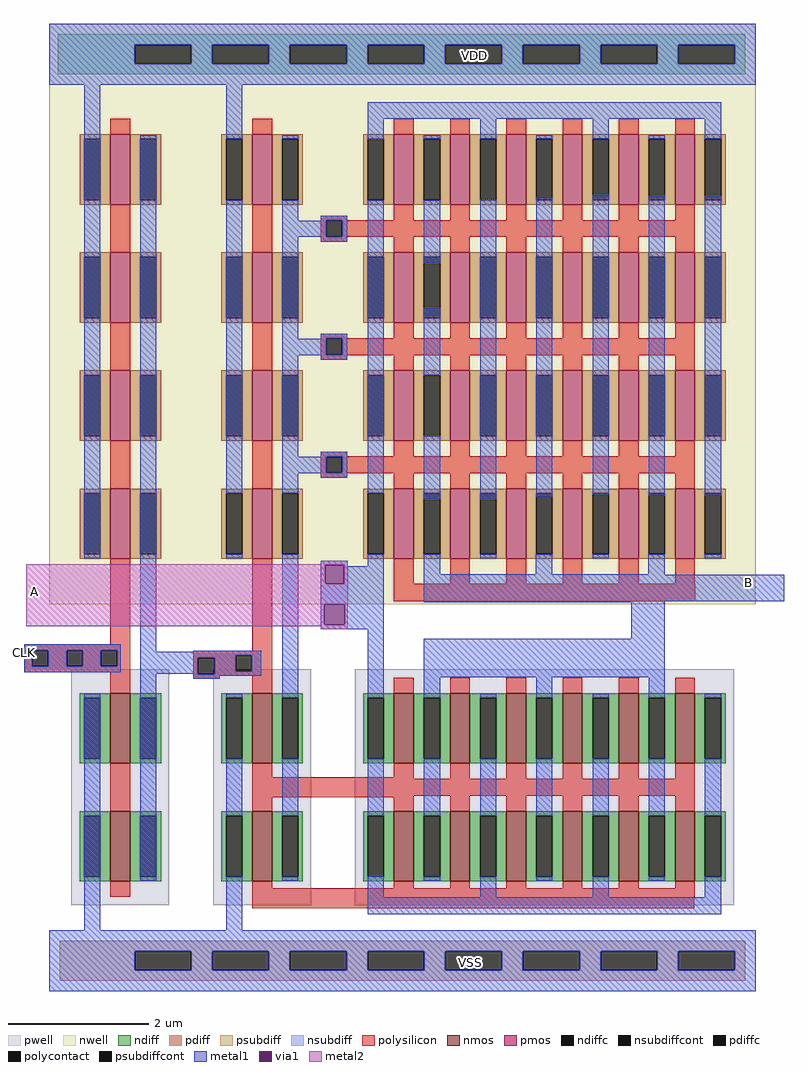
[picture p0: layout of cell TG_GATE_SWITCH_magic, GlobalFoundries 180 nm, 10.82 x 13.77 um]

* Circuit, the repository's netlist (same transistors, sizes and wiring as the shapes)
* NGSPICE file created from TG_GATE_SWITCH_magic.ext - technology: gf180mcuC

.subckt pmos_3p3_MNHNAR a_28_404# a_n28_n312# a_n28_360# a_28_68# a_28_n268# w_n202_n734#
+ a_n116_n268# a_28_n604# a_n28_n648# a_n28_24# a_n116_n604# a_n116_68# a_n116_404#
X0 a_28_n268# a_n28_n312# a_n116_n268# w_n202_n734# pfet_03v3 ad=0.44p pd=2.88u as=0.44p ps=2.88u w=1u l=0.28u
X1 a_28_n604# a_n28_n648# a_n116_n604# w_n202_n734# pfet_03v3 ad=0.44p pd=2.88u as=0.44p ps=2.88u w=1u l=0.28u
X2 a_28_68# a_n28_24# a_n116_68# w_n202_n734# pfet_03v3 ad=0.44p pd=2.88u as=0.44p ps=2.88u w=1u l=0.28u
X3 a_28_404# a_n28_360# a_n116_404# w_n202_n734# pfet_03v3 ad=0.44p pd=2.88u as=0.44p ps=2.88u w=1u l=0.28u
.ends

.subckt nmos_3p3_K66RT2 a_n28_n312# a_28_68# a_28_n268# a_n116_n268# a_n28_24# a_n116_68#
+ VSUBS
X0 a_28_68# a_n28_24# a_n116_68# VSUBS nfet_03v3 ad=0.44p pd=2.88u as=0.44p ps=2.88u w=1u l=0.28u
X1 a_28_n268# a_n28_n312# a_n116_n268# VSUBS nfet_03v3 ad=0.44p pd=2.88u as=0.44p ps=2.88u w=1u l=0.28u
.ends

.subckt nmos_3p3_CU6RT2 a_108_n268# a_n428_n312# a_428_68# a_268_n268# a_268_68# a_n52_68#
+ a_52_24# a_108_68# a_428_n268# a_372_24# a_52_n312# a_n52_n268# a_n372_68# a_212_24#
+ a_n428_24# a_n516_n268# a_n108_n312# a_212_n312# a_n212_68# a_n212_n268# a_n268_24#
+ a_n268_n312# a_372_n312# a_n108_24# a_n372_n268# a_n516_68# VSUBS
X0 a_268_68# a_212_24# a_108_68# VSUBS nfet_03v3 ad=0.26p pd=1.52u as=0.26p ps=1.52u w=1u l=0.28u
X1 a_n372_68# a_n428_24# a_n516_68# VSUBS nfet_03v3 ad=0.26p pd=1.52u as=0.44p ps=2.88u w=1u l=0.28u
X2 a_n372_n268# a_n428_n312# a_n516_n268# VSUBS nfet_03v3 ad=0.26p pd=1.52u as=0.44p ps=2.88u w=1u l=0.28u
X3 a_n212_68# a_n268_24# a_n372_68# VSUBS nfet_03v3 ad=0.26p pd=1.52u as=0.26p ps=1.52u w=1u l=0.28u
X4 a_108_n268# a_52_n312# a_n52_n268# VSUBS nfet_03v3 ad=0.26p pd=1.52u as=0.26p ps=1.52u w=1u l=0.28u
X5 a_428_n268# a_372_n312# a_268_n268# VSUBS nfet_03v3 ad=0.44p pd=2.88u as=0.26p ps=1.52u w=1u l=0.28u
X6 a_268_n268# a_212_n312# a_108_n268# VSUBS nfet_03v3 ad=0.26p pd=1.52u as=0.26p ps=1.52u w=1u l=0.28u
X7 a_n52_68# a_n108_24# a_n212_68# VSUBS nfet_03v3 ad=0.26p pd=1.52u as=0.26p ps=1.52u w=1u l=0.28u
X8 a_n212_n268# a_n268_n312# a_n372_n268# VSUBS nfet_03v3 ad=0.26p pd=1.52u as=0.26p ps=1.52u w=1u l=0.28u
X9 a_n52_n268# a_n108_n312# a_n212_n268# VSUBS nfet_03v3 ad=0.26p pd=1.52u as=0.26p ps=1.52u w=1u l=0.28u
X10 a_108_68# a_52_24# a_n52_68# VSUBS nfet_03v3 ad=0.26p pd=1.52u as=0.26p ps=1.52u w=1u l=0.28u
X11 a_428_68# a_372_24# a_268_68# VSUBS nfet_03v3 ad=0.44p pd=2.88u as=0.26p ps=1.52u w=1u l=0.28u
.ends

.subckt pmos_3p3_MENMAR a_108_n268# a_n428_n312# a_428_68# a_n52_404# a_n372_n604#
+ a_n516_404# a_212_360# a_268_n268# a_268_68# a_n52_68# a_52_24# a_428_404# a_372_360#
+ a_52_n648# a_108_n604# a_108_68# a_n108_n648# a_212_n648# a_428_n268# a_372_24#
+ a_268_n604# w_n602_n734# a_52_n312# a_n212_404# a_n428_360# a_n52_n268# a_n372_404#
+ a_n372_68# a_212_24# a_n268_n648# a_n428_24# a_372_n648# a_n516_n268# a_n108_n312#
+ a_212_n312# a_n212_68# a_108_404# a_428_n604# a_n212_n268# a_268_404# a_n268_24#
+ a_52_360# a_n52_n604# a_n428_n648# a_n268_n312# a_372_n312# a_n108_24# a_n516_n604#
+ a_n372_n268# a_n108_360# a_n212_n604# a_n516_68# a_n268_360#
X0 a_n52_404# a_n108_360# a_n212_404# w_n602_n734# pfet_03v3 ad=0.26p pd=1.52u as=0.26p ps=1.52u w=1u l=0.28u
X1 a_268_68# a_212_24# a_108_68# w_n602_n734# pfet_03v3 ad=0.26p pd=1.52u as=0.26p ps=1.52u w=1u l=0.28u
X2 a_n372_68# a_n428_24# a_n516_68# w_n602_n734# pfet_03v3 ad=0.26p pd=1.52u as=0.44p ps=2.88u w=1u l=0.28u
X3 a_n212_404# a_n268_360# a_n372_404# w_n602_n734# pfet_03v3 ad=0.26p pd=1.52u as=0.26p ps=1.52u w=1u l=0.28u
X4 a_n372_n268# a_n428_n312# a_n516_n268# w_n602_n734# pfet_03v3 ad=0.26p pd=1.52u as=0.44p ps=2.88u w=1u l=0.28u
X5 a_n212_68# a_n268_24# a_n372_68# w_n602_n734# pfet_03v3 ad=0.26p pd=1.52u as=0.26p ps=1.52u w=1u l=0.28u
X6 a_108_n268# a_52_n312# a_n52_n268# w_n602_n734# pfet_03v3 ad=0.26p pd=1.52u as=0.26p ps=1.52u w=1u l=0.28u
X7 a_428_n268# a_372_n312# a_268_n268# w_n602_n734# pfet_03v3 ad=0.44p pd=2.88u as=0.26p ps=1.52u w=1u l=0.28u
X8 a_268_n268# a_212_n312# a_108_n268# w_n602_n734# pfet_03v3 ad=0.26p pd=1.52u as=0.26p ps=1.52u w=1u l=0.28u
X9 a_108_404# a_52_360# a_n52_404# w_n602_n734# pfet_03v3 ad=0.26p pd=1.52u as=0.26p ps=1.52u w=1u l=0.28u
X10 a_n372_n604# a_n428_n648# a_n516_n604# w_n602_n734# pfet_03v3 ad=0.26p pd=1.52u as=0.44p ps=2.88u w=1u l=0.28u
X11 a_n52_68# a_n108_24# a_n212_68# w_n602_n734# pfet_03v3 ad=0.26p pd=1.52u as=0.26p ps=1.52u w=1u l=0.28u
X12 a_n212_n268# a_n268_n312# a_n372_n268# w_n602_n734# pfet_03v3 ad=0.26p pd=1.52u as=0.26p ps=1.52u w=1u l=0.28u
X13 a_268_404# a_212_360# a_108_404# w_n602_n734# pfet_03v3 ad=0.26p pd=1.52u as=0.26p ps=1.52u w=1u l=0.28u
X14 a_n52_n268# a_n108_n312# a_n212_n268# w_n602_n734# pfet_03v3 ad=0.26p pd=1.52u as=0.26p ps=1.52u w=1u l=0.28u
X15 a_108_68# a_52_24# a_n52_68# w_n602_n734# pfet_03v3 ad=0.26p pd=1.52u as=0.26p ps=1.52u w=1u l=0.28u
X16 a_108_n604# a_52_n648# a_n52_n604# w_n602_n734# pfet_03v3 ad=0.26p pd=1.52u as=0.26p ps=1.52u w=1u l=0.28u
X17 a_428_n604# a_372_n648# a_268_n604# w_n602_n734# pfet_03v3 ad=0.44p pd=2.88u as=0.26p ps=1.52u w=1u l=0.28u
X18 a_n372_404# a_n428_360# a_n516_404# w_n602_n734# pfet_03v3 ad=0.26p pd=1.52u as=0.44p ps=2.88u w=1u l=0.28u
X19 a_268_n604# a_212_n648# a_108_n604# w_n602_n734# pfet_03v3 ad=0.26p pd=1.52u as=0.26p ps=1.52u w=1u l=0.28u
X20 a_428_404# a_372_360# a_268_404# w_n602_n734# pfet_03v3 ad=0.44p pd=2.88u as=0.26p ps=1.52u w=1u l=0.28u
X21 a_n212_n604# a_n268_n648# a_n372_n604# w_n602_n734# pfet_03v3 ad=0.26p pd=1.52u as=0.26p ps=1.52u w=1u l=0.28u
X22 a_n52_n604# a_n108_n648# a_n212_n604# w_n602_n734# pfet_03v3 ad=0.26p pd=1.52u as=0.26p ps=1.52u w=1u l=0.28u
X23 a_428_68# a_372_24# a_268_68# w_n602_n734# pfet_03v3 ad=0.44p pd=2.88u as=0.26p ps=1.52u w=1u l=0.28u
.ends

.subckt TG_GATE_SWITCH_magic B VDD VSS A CLK
Xpmos_3p3_MNHNAR_0 a_42_9# CLK CLK a_42_9# a_42_9# VDD VDD a_42_9# CLK CLK VDD VDD
+ VDD pmos_3p3_MNHNAR
Xpmos_3p3_MNHNAR_1 a_614_229# a_42_9# a_42_9# a_614_229# a_614_229# VDD VDD a_614_229#
+ a_42_9# a_42_9# VDD VDD VDD pmos_3p3_MNHNAR
Xnmos_3p3_K66RT2_1 a_42_9# a_614_229# a_614_229# VSS a_42_9# VSS VSS nmos_3p3_K66RT2
Xnmos_3p3_K66RT2_2 CLK a_42_9# a_42_9# VSS CLK VSS VSS nmos_3p3_K66RT2
Xnmos_3p3_CU6RT2_0 A a_42_9# A B B B a_42_9# A A a_42_9# a_42_9# B B a_42_9# a_42_9#
+ A a_42_9# a_42_9# A A a_42_9# a_42_9# a_42_9# a_42_9# B A VSS nmos_3p3_CU6RT2
Xpmos_3p3_MENMAR_0 A a_614_229# A B B A a_614_229# B B B a_614_229# A a_614_229# a_614_229#
+ A A a_614_229# a_614_229# A a_614_229# B VDD a_614_229# A a_614_229# B B B a_614_229#
+ a_614_229# a_614_229# a_614_229# A a_614_229# a_614_229# A A A A B a_614_229# a_614_229#
+ B a_614_229# a_614_229# a_614_229# a_614_229# A B a_614_229# A A a_614_229# pmos_3p3_MENMAR
.ends

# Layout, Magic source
magic
tech gf180mcuC
magscale 1 10
<< nwell >>
rect -367 1688 1644 1873
rect 405 267 482 345
<< psubdiff >>
rect -337 -767 1614 -737
rect -337 -821 -124 -767
rect 37 -821 97 -767
rect 258 -821 318 -767
rect 479 -821 539 -767
rect 700 -821 760 -767
rect 921 -821 981 -767
rect 1142 -821 1202 -767
rect 1363 -821 1423 -767
rect 1584 -821 1614 -767
rect -337 -851 1614 -821
<< nsubdiff >>
rect -343 1813 1614 1843
rect -343 1759 -124 1813
rect 37 1759 97 1813
rect 258 1759 318 1813
rect 479 1759 539 1813
rect 700 1759 760 1813
rect 921 1759 981 1813
rect 1142 1759 1202 1813
rect 1363 1759 1423 1813
rect 1584 1759 1614 1813
rect -343 1729 1614 1759
<< psubdiffcont >>
rect -124 -821 37 -767
rect 97 -821 258 -767
rect 318 -821 479 -767
rect 539 -821 700 -767
rect 760 -821 921 -767
rect 981 -821 1142 -767
rect 1202 -821 1363 -767
rect 1423 -821 1584 -767
<< nsubdiffcont >>
rect -124 1759 37 1813
rect 97 1759 258 1813
rect 318 1759 479 1813
rect 539 1759 700 1813
rect 760 1759 921 1813
rect 981 1759 1142 1813
rect 1202 1759 1363 1813
rect 1423 1759 1584 1813
<< polysilicon >>
rect -193 1266 -137 1316
rect 406 1314 481 1326
rect 211 1266 267 1314
rect 406 1313 1470 1314
rect 406 1267 421 1313
rect 467 1267 1470 1313
rect 406 1266 1470 1267
rect 406 1252 481 1266
rect -193 930 -137 980
rect 406 978 481 990
rect 211 930 267 978
rect 406 977 1470 978
rect 406 931 421 977
rect 467 931 1470 977
rect 406 930 1470 931
rect 406 916 481 930
rect -193 594 -137 644
rect 406 642 481 654
rect 211 594 267 642
rect 406 641 1470 642
rect 406 595 421 641
rect 467 595 1470 641
rect 406 594 1470 595
rect 406 580 481 594
rect -193 107 -137 350
rect -437 90 -137 107
rect -437 44 -416 90
rect -370 44 -318 90
rect -272 44 -220 90
rect -174 44 -137 90
rect 211 89 267 336
rect 614 279 670 309
rect 774 279 830 309
rect 934 279 990 309
rect 1094 279 1150 310
rect 1254 279 1310 309
rect 1414 279 1470 310
rect 614 229 1471 279
rect -437 27 -137 44
rect -193 -11 -137 27
rect 42 76 267 89
rect 42 68 163 76
rect 42 22 56 68
rect 104 30 163 68
rect 209 30 267 76
rect 104 22 267 30
rect 42 17 267 22
rect 42 9 118 17
rect 211 12 267 17
rect -193 -325 -137 -275
rect 240 -276 670 -272
rect 211 -324 1470 -276
rect 240 -328 670 -324
rect 211 -644 1469 -588
<< polycontact >>
rect 421 1267 467 1313
rect 421 931 467 977
rect 421 595 467 641
rect -416 44 -370 90
rect -318 44 -272 90
rect -220 44 -174 90
rect 56 22 104 68
rect 163 30 209 76
<< metal1 >>
rect -367 1813 1644 1873
rect -367 1759 -124 1813
rect 37 1759 97 1813
rect 258 1759 318 1813
rect 479 1759 539 1813
rect 700 1759 760 1813
rect 921 1759 981 1813
rect 1142 1759 1202 1813
rect 1363 1759 1423 1813
rect 1584 1759 1644 1813
rect -367 1699 1644 1759
rect -268 352 -222 1699
rect -439 90 -163 107
rect -439 44 -416 90
rect -370 44 -318 90
rect -272 44 -220 90
rect -174 44 -163 90
rect -439 27 -163 44
rect -108 86 -62 1556
rect 136 1545 182 1699
rect 539 1602 1545 1650
rect 539 1544 585 1602
rect 859 1545 905 1602
rect 1179 1545 1225 1602
rect 1499 1545 1545 1602
rect 136 537 182 1371
rect 296 1312 342 1371
rect 406 1313 481 1326
rect 406 1312 421 1313
rect 296 1267 421 1312
rect 467 1267 481 1313
rect 296 1266 481 1267
rect 296 976 342 1266
rect 406 1252 481 1266
rect 406 977 481 990
rect 406 976 421 977
rect 296 931 421 976
rect 467 931 481 977
rect 296 930 481 931
rect 296 640 342 930
rect 406 916 481 930
rect 406 641 481 654
rect 406 640 421 641
rect 296 595 421 640
rect 467 595 481 641
rect 296 594 481 595
rect 296 537 342 594
rect 406 580 481 594
rect 539 537 585 1371
rect 699 1370 744 1371
rect 699 1191 745 1370
rect 699 884 745 1064
rect 699 565 745 700
rect 698 519 745 565
rect 859 519 905 1372
rect 1019 526 1065 1379
rect 1179 533 1225 1386
rect 1339 530 1385 1383
rect 1499 530 1545 1383
rect 42 86 236 89
rect -108 76 236 86
rect -108 68 163 76
rect -108 23 56 68
rect -268 -707 -222 -34
rect -108 -566 -62 23
rect 42 22 56 23
rect 104 30 163 68
rect 209 30 236 76
rect 104 22 236 30
rect 42 17 236 22
rect 42 9 118 17
rect 296 -45 342 363
rect 405 333 482 345
rect 405 279 419 333
rect 473 329 482 333
rect 539 329 585 363
rect 473 279 585 329
rect 405 221 585 279
rect 699 306 745 363
rect 1018 306 1065 363
rect 1338 306 1385 363
rect 699 304 1385 306
rect 699 229 1724 304
rect 699 227 1385 229
rect 405 162 415 221
rect 474 162 585 221
rect 405 149 585 162
rect 539 -45 585 149
rect 1289 122 1385 227
rect 699 13 1385 122
rect 699 -45 745 13
rect 1019 -46 1065 13
rect 1339 -45 1385 13
rect 136 -381 182 -219
rect 296 -381 342 -219
rect 539 -381 585 -219
rect 699 -370 745 -219
rect 859 -381 905 -219
rect 1019 -381 1065 -219
rect 1179 -381 1225 -219
rect 1339 -381 1385 -219
rect 1499 -381 1545 -219
rect 136 -707 182 -555
rect 539 -613 585 -554
rect 859 -613 905 -555
rect 1179 -613 1225 -555
rect 1499 -613 1545 -555
rect 539 -661 1545 -613
rect -367 -767 1644 -707
rect -367 -821 -124 -767
rect 37 -821 97 -767
rect 258 -821 318 -767
rect 479 -821 539 -767
rect 700 -821 760 -767
rect 921 -821 981 -767
rect 1142 -821 1202 -767
rect 1363 -821 1423 -767
rect 1584 -821 1644 -767
rect -367 -881 1644 -821
<< via1 >>
rect 419 279 473 333
rect 415 162 474 221
<< metal2 >>
rect 405 334 482 345
rect -432 333 482 334
rect -432 279 419 333
rect 473 279 482 333
rect -432 221 482 279
rect -432 162 415 221
rect 474 162 482 221
rect -432 158 482 162
rect 405 149 482 158
use nmos_3p3_CU6RT2  nmos_3p3_CU6RT2_0
transform 1 0 1042 0 1 -300
box -540 -336 540 336
use nmos_3p3_K66RT2  nmos_3p3_K66RT2_1
transform 1 0 239 0 1 -300
box -140 -336 140 336
use nmos_3p3_K66RT2  nmos_3p3_K66RT2_2
transform 1 0 -165 0 1 -300
box -140 -336 140 336
use pmos_3p3_MENMAR  pmos_3p3_MENMAR_0
transform 1 0 1042 0 1 954
box -602 -734 602 734
use pmos_3p3_MNHNAR  pmos_3p3_MNHNAR_0
transform 1 0 -165 0 1 954
box -202 -734 202 734
use pmos_3p3_MNHNAR  pmos_3p3_MNHNAR_1
transform 1 0 239 0 1 954
box -202 -734 202 734
<< labels >>
flabel metal1 1624 282 1624 282 0 FreeSans 800 0 0 0 B
port 12 nsew
flabel nsubdiffcont 842 1781 842 1781 0 FreeSans 800 0 0 0 VDD
port 13 nsew
flabel psubdiffcont 833 -798 833 -798 0 FreeSans 800 0 0 0 VSS
port 14 nsew
flabel metal2 -409 257 -409 257 0 FreeSans 1600 0 0 0 A
port 16 nsew
flabel metal1 -438 84 -438 84 0 FreeSans 1600 0 0 0 CLK
port 18 nsew
<< end >>

# cell nmos_3p3_CU6RT2: kit device nmos_3p3, w 1 l 0.280 m 2 nf 6 diffcov 100 polycov 100 guard 0 glc 0 grc 0 gtc 0 gbc 0 tbcov 100 rlcov 100 topc 0 botc 0 poverlap 0 doverlap 1 lmin 0.28 wmin 0.22 full_metal 0 compatible {nmos_3p3 nmos_6p0 nmos_6p0_nat}

# cell nmos_3p3_K66RT2: kit device nmos_3p3, w 1 l 0.280 m 2 nf 1 diffcov 100 polycov 100 guard 0 glc 0 grc 0 gtc 0 gbc 0 tbcov 100 rlcov 100 topc 0 botc 0 poverlap 0 doverlap 1 lmin 0.28 wmin 0.22 full_metal 0 compatible {nmos_3p3 nmos_6p0 nmos_6p0_nat}

# cell pmos_3p3_MENMAR: kit device pmos_3p3, w 1 l 0.280 m 4 nf 6 diffcov 100 polycov 100 guard 0 glc 0 grc 0 gtc 0 gbc 0 tbcov 100 rlcov 100 topc 0 botc 0 poverlap 0 doverlap 1 lmin 0.28 wmin 0.22 full_metal 0 compatible {pmos_3p3 pmos_6p0}

# cell pmos_3p3_MNHNAR: kit device pmos_3p3, w 1 l 0.280 m 4 nf 1 diffcov 100 polycov 100 guard 0 glc 0 grc 0 gtc 0 gbc 0 tbcov 100 rlcov 100 topc 0 botc 0 poverlap 0 doverlap 1 lmin 0.28 wmin 0.22 full_metal 0 compatible {pmos_3p3 pmos_6p0}
